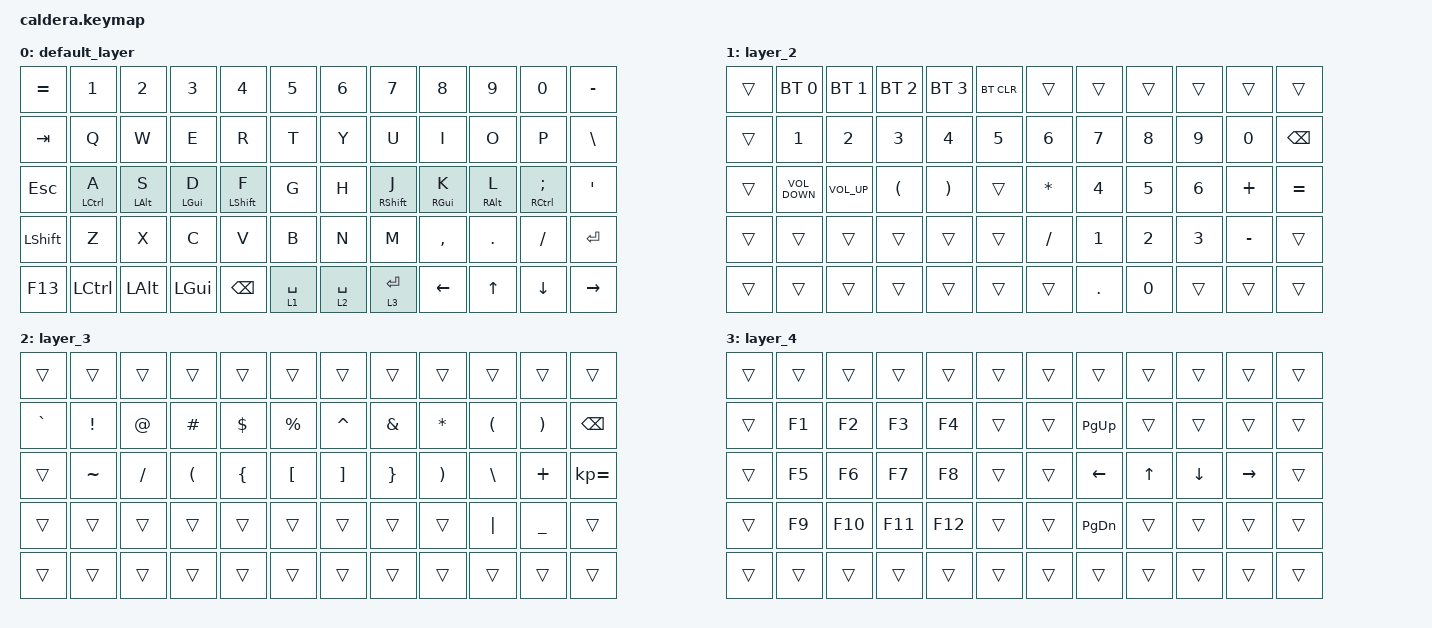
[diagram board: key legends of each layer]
#include <behaviors.dtsi>
#include <dt-bindings/zmk/bt.h>
#include <dt-bindings/zmk/keys.h>

/ {
    behaviors {
        bhm: balanced_homerow_mods {
            compatible = "zmk,behavior-hold-tap";
            #binding-cells = <2>;
            tapping-term-ms = <200>;    // <---[[moderate duration]]
            quick-tap-ms = <0>;
            flavor = "tap-preferred";
            bindings = <&kp>, <&kp>;
        };
    };

    keymap {
        compatible = "zmk,keymap";

        default_layer {
            // ---------------------------------------------------------------------------------
            // |   `  |  1  |  2  |  3  |  4   |  5  |     |  6  |  7  |  8  |  9  |  0  | BKSP |
            // |  TAB |  Q  |  W  |  E  |  R   |  T  |     |  Y  |  U  |  I  |  O  |  P  |  \   |
            // |  ESC |  A  |  S  |  D  |  F   |  G  |     |  H  |  J  |  K  |  L  |  ;  |  ENT |
            // | SHFT |  Z  |  X  |  C  |  V   |  B  |     |  N  |  M  |  ,  |  .  |  /  |   '  |
            // |  F13 | CRT | ALT | GUI | BKSP | SPC |     | SPC | ENT |LARW |DARW |UARW | RARW |

            bindings = <
&kp EQUAL  &kp N1            &kp N2        &kp N3        &kp N4         &kp N5         &kp N6       &kp N7         &kp N8       &kp N9        &kp N0           &kp MINUS
&kp TAB    &kp Q             &kp W         &kp E         &kp R          &kp T          &kp Y        &kp U          &kp I        &kp O         &kp P            &kp BSLH
&kp ESC    &bhm LCTRL A      &bhm LALT S   &bhm LGUI D   &bhm LSHIFT F  &kp G          &kp H        &bhm RSHIFT J  &bhm RGUI K  &bhm RALT L   &bhm RCTRL SEMI  &kp APOS
&kp LSHFT  &kp Z             &kp X         &kp C         &kp V          &kp B          &kp N        &kp M          &kp COMMA    &kp DOT       &kp FSLH         &kp ENTER
&kp F13    &kp LEFT_CONTROL  &kp LEFT_ALT  &kp LEFT_GUI  &kp BACKSPACE  &lt 1 SPACE    &lt 2 SPACE  &lt 3 ENTER    &kp LEFT     &kp UP_ARROW  &kp DOWN_ARROW   &kp RIGHT
            >;
        };

        layer_2 {
            bindings = <
&trans  &bt BT_SEL 0       &bt BT_SEL 1  &bt BT_SEL 2  &bt BT_SEL 3           &bt BT_CLR    &trans     &trans   &trans  &trans  &trans     &trans
&trans  &kp N1             &kp N2        &kp N3        &kp N4                 &kp N5        &kp N6     &kp N7   &kp N8  &kp N9  &kp N0     &kp BSPC
&trans  &kp C_VOLUME_DOWN  &kp C_VOL_UP  &kp LPAR      &kp RIGHT_PARENTHESIS  &trans        &kp ASTRK  &kp N4   &kp N5  &kp N6  &kp PLUS   &kp EQUAL
&trans  &trans             &trans        &trans        &trans                 &trans        &kp FSLH   &kp N1   &kp N2  &kp N3  &kp MINUS  &trans
&trans  &trans             &trans        &trans        &trans                 &trans        &trans     &kp DOT  &kp N0  &trans  &trans     &trans
            >;
        };

        layer_3 {
            bindings = <
&trans     &trans           &trans     &trans    &trans          &trans              &trans             &trans           &trans                 &trans                &trans     &trans
&kp GRAVE  &kp EXCLAMATION  &kp AT     &kp HASH  &kp DOLLAR      &kp PERCENT         &kp CARET          &kp AMPS         &kp ASTRK              &kp LEFT_PARENTHESIS  &kp RPAR   &kp BACKSPACE
&trans     &kp TILDE        &kp SLASH  &kp LPAR  &kp LEFT_BRACE  &kp LEFT_BRACKET    &kp RIGHT_BRACKET  &kp RIGHT_BRACE  &kp RIGHT_PARENTHESIS  &kp BACKSLASH         &kp PLUS   &kp KP_EQUAL
&trans     &trans           &trans     &trans    &trans          &trans              &trans             &trans           &trans                 &kp PIPE              &kp UNDER  &trans
&trans     &trans           &trans     &trans    &trans          &trans              &trans             &trans           &trans                 &trans                &trans     &trans
            >;
        };

        layer_4 {
            bindings = <
&trans  &trans  &trans   &trans   &trans   &trans    &trans  &trans         &trans  &trans    &trans     &trans
&trans  &kp F1  &kp F2   &kp F3   &kp F4   &trans    &trans  &kp PAGE_UP    &trans  &trans    &trans     &trans
&trans  &kp F5  &kp F6   &kp F7   &kp F8   &trans    &trans  &kp LEFT       &kp UP  &kp DOWN  &kp RIGHT  &trans
&trans  &kp F9  &kp F10  &kp F11  &kp F12  &trans    &trans  &kp PAGE_DOWN  &trans  &trans    &trans     &trans
&trans  &trans  &trans   &trans   &trans   &trans    &trans  &trans         &trans  &trans    &trans     &trans
            >;
        };
    };
};
